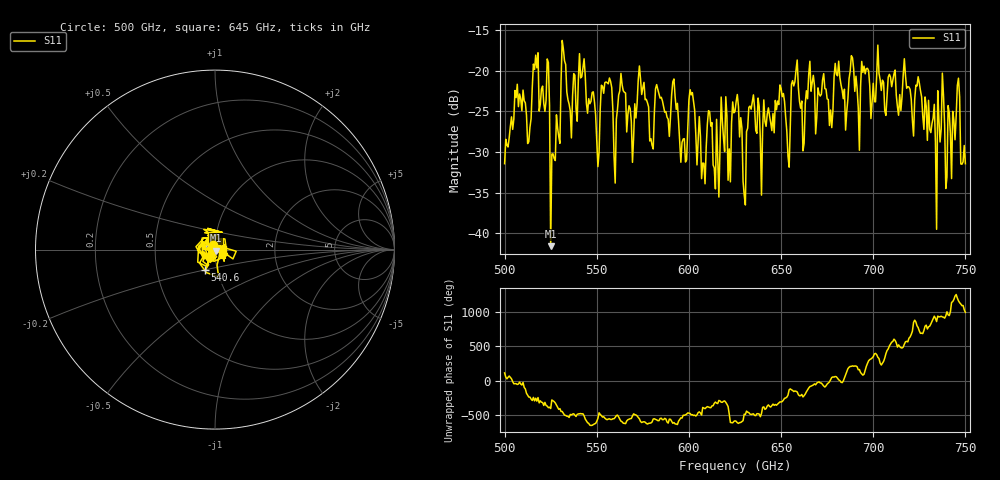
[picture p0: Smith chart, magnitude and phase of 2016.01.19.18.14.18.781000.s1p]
!Created with skrf (http://scikit-rf.org).
# GHz S RI R 50.0
!freq ReS11 ImS11
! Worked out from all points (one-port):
!   401 points, 500 GHz to 750 GHz, reference 50 ohm
!   lowest |S11| = -41.6 dB at 525 GHz (marker M1), VSWR 1.02, Z = 50.6 - j0.531 ohm
!   |S11| at or under -10 dB: start of sweep to end of sweep
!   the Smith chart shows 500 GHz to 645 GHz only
!   S11 on the Smith chart (normalised r, x): 500 GHz: 0.98, +0.05; 540.6 GHz: 0.87, -0.20; 645 GHz: 1.09, +0.01
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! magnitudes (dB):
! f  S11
! 500 GHz  -31.4
! 506.9 GHz  -21.6
! 513.1 GHz  -28.7
! 516.9 GHz  -18.1
! 525 GHz  -41.6
! 526.2 GHz  -30.2
! 531.2 GHz  -16.2
! 540.6 GHz  -17.9
! 550.6 GHz  -31.8
! 553.8 GHz  -22.8
! 560 GHz  -33.8
! 562.5 GHz  -22.5
! 593.8 GHz  -24.0
! 608.1 GHz  -31.4
! 611.2 GHz  -25.0
! 615 GHz  -26.0
! 625 GHz  -25.0
! 630 GHz  -35.3
! 633.8 GHz  -24.7
! 645 GHz  -27.4
! 650.6 GHz  -23.2
! 653.8 GHz  -30.5
! 656.2 GHz  -21.2
! 687.5 GHz  -20.0
! 718.8 GHz  -22.0
! 733.1 GHz  -24.1
! 745.6 GHz  -21.8
! 750 GHz  -31.4
